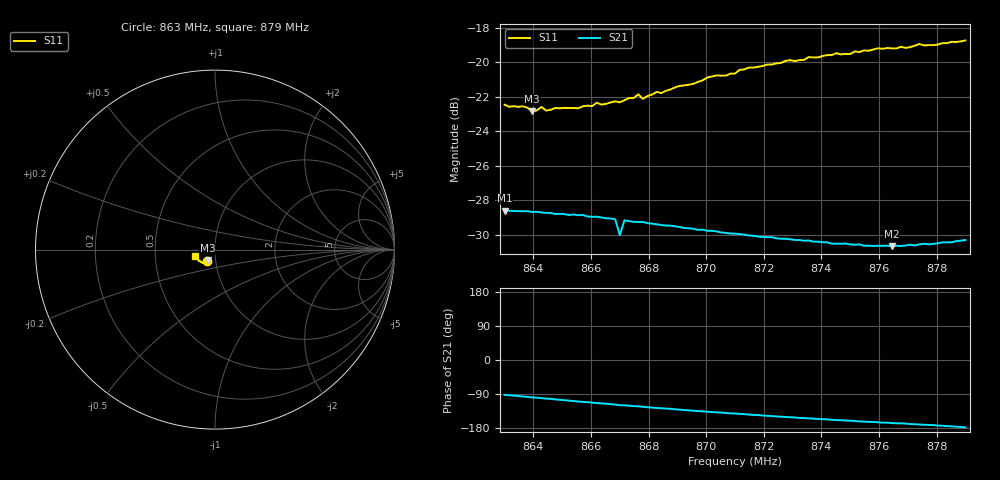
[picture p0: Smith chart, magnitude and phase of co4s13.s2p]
# HZ S RI R 50
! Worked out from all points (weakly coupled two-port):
!   101 points, 863 MHz to 879 MHz, reference 50 ohm
!   highest |S21| = -28.59 dB at 863 MHz (marker M1); lowest = -30.7 dB at 876.44 MHz (marker M2)
!   lowest |S11| = -22.9 dB at 863.96 MHz (marker M3), VSWR 1.16, Z = 45.9 - j5.54 ohm
!   |S11| at or under -10 dB: start of sweep to end of sweep
!   S12 and S22 are empty: the file has one direction only
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8.63e8  -0.0429 -0.0619  -0.0013 -0.0372  0 0  0 0
8.6364e8  -0.041 -0.0622  -0.004 -0.0368  0 0  0 0
8.6396e8  -0.0397 -0.0601  -0.00562 -0.0364  0 0  0 0
8.6428e8  -0.0391 -0.0631  -0.00685 -0.0361  0 0  0 0
8.6444e8  -0.039 -0.061  -0.00755 -0.0358  0 0  0 0
8.6572e8  -0.0375 -0.0644  -0.0128 -0.0338  0 0  0 0
8.6684e8  -0.0388 -0.0666  -0.0163 -0.0311  0 0  0 0
8.67e8  -0.0352 -0.0679  -0.0155 -0.0275  0 0  0 0
8.6716e8  -0.0383 -0.0675  -0.0171 -0.0303  0 0  0 0
8.6748e8  -0.0388 -0.0685  -0.0182 -0.0293  0 0  0 0
8.6764e8  -0.0412 -0.0694  -0.0184 -0.0292  0 0  0 0
8.678e8  -0.0398 -0.0675  -0.019 -0.0287  0 0  0 0
8.6828e8  -0.0417 -0.0707  -0.0203 -0.0272  0 0  0 0
8.6844e8  -0.0423 -0.0696  -0.0205 -0.0269  0 0  0 0
8.7004e8  -0.0494 -0.0756  -0.0235 -0.0224  0 0  0 0
8.71e8  -0.0555 -0.0743  -0.0248 -0.0201  0 0  0 0
8.7116e8  -0.0575 -0.0757  -0.0251 -0.0195  0 0  0 0
8.7148e8  -0.0591 -0.0763  -0.0255 -0.0185  0 0  0 0
8.7372e8  -0.0753 -0.0706  -0.0273 -0.013  0 0  0 0
8.7596e8  -0.092 -0.0599  -0.0283 -0.0079  0 0  0 0
8.7644e8  -0.0943 -0.0561  -0.0285 -0.00694  0 0  0 0
8.79e8  -0.1105 -0.0341  -0.0305 -0.00117  0 0  0 0
